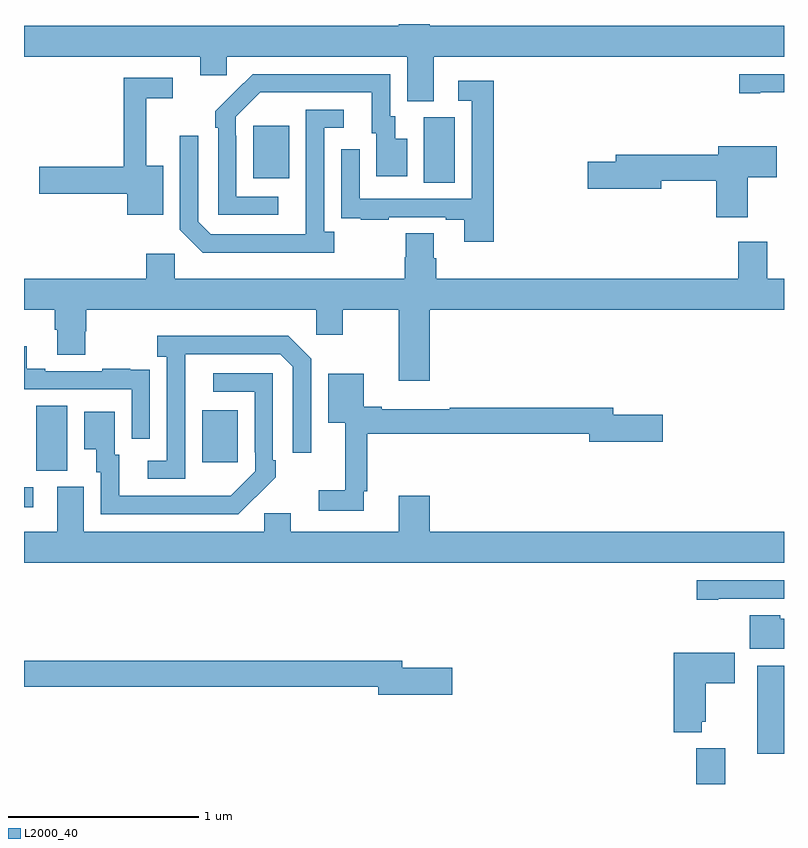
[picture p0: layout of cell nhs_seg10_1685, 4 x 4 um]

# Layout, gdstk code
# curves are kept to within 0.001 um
import gdstk
lib = gdstk.Library(unit=1e-6, precision=1e-09)
def R(c, l, rs):  # rectangles x0, y0, x1, y1
    for r in rs: c.add(gdstk.rectangle(r[:2], r[2:], *l))
def P(c, l, *ps):  # polygons
    for p in ps: c.add(gdstk.Polygon(p, *l))
L2000_40 = (2000, 40)

nhs_seg10_1685 = lib.new_cell('nhs_seg10_1685')
R(nhs_seg10_1685, L2000_40, [(202.538,1284.5,202.69,1284.688), (202.859,1284.66,203,1285.123), (199,1285.956,199.048,1286.061), (199.064,1286.149,199.228,1286.492), (199.937,1286.193,200.125,1286.467), (201.104,1287.664,201.268,1288.008), (200.207,1287.689,200.395,1287.964)])
P(nhs_seg10_1685, L2000_40, [(201.157,1288.328),(203,1288.328),(203,1288.492),(201.136,1288.492),(201.136,1288.5),(200.972,1288.5),(200.972,1288.492),(199,1288.492),(199,1288.328),(199.928,1288.328),(199.928,1288.23),(200.067,1288.23),(200.067,1288.328),(201.017,1288.328),(201.017,1288.093),(201.157,1288.093)],
  [(202.876,1288.14),(203,1288.14),(203,1288.236),(202.764,1288.236),(202.764,1288.135),(202.876,1288.135)],
  [(200.338,1287.591),(200.118,1287.591),(200.118,1287.911),(200.115,1287.911),(200.115,1288.011),(200.244,1288.14),(200.831,1288.14),(200.831,1287.924),(200.855,1287.924),(200.855,1287.699),(201.016,1287.699),(201.016,1287.895),(200.953,1287.895),(200.953,1288.014),(200.928,1288.014),(200.928,1288.236),(200.204,1288.236),(200.007,1288.041),(200.007,1287.953),(200.022,1287.953),(200.022,1287.495),(200.338,1287.495)],
  [(199.732,1287.754),(199.643,1287.754),(199.643,1288.11),(199.783,1288.11),(199.783,1288.218),(199.525,1288.218),(199.525,1287.749),(199.08,1287.749),(199.08,1287.607),(199.544,1287.607),(199.544,1287.497),(199.732,1287.497)],
  [(201.473,1288.201),(201.285,1288.201),(201.285,1288.095),(201.357,1288.095),(201.357,1287.579),(200.766,1287.579),(200.766,1287.841),(200.67,1287.841),(200.67,1287.586),(200.671,1287.586),(200.671,1287.477),(200.773,1287.477),(200.773,1287.471),(200.921,1287.471),(200.921,1287.483),(201.221,1287.483),(201.221,1287.471),(201.317,1287.471),(201.317,1287.354),(201.473,1287.354)],
  [(200.632,1287.406),(200.58,1287.406),(200.58,1287.954),(200.683,1287.954),(200.683,1288.05),(200.484,1288.05),(200.483,1287.393),(199.983,1287.393),(199.917,1287.459),(199.917,1287.913),(199.821,1287.913),(199.821,1287.417),(199.942,1287.296),(200.632,1287.296)],
  [(202.81,1287.694),(202.963,1287.694),(202.963,1287.856),(202.655,1287.856),(202.655,1287.812),(202.115,1287.812),(202.115,1287.776),(201.966,1287.776),(201.966,1287.634),(202.354,1287.634),(202.354,1287.676),(202.643,1287.676),(202.643,1287.483),(202.81,1287.483)],
  [(201.136,1286.996),(203,1286.996),(203,1287.16),(202.912,1287.16),(202.912,1287.355),(202.76,1287.355),(202.76,1287.16),(201.17,1287.16),(201.17,1287.266),(201.157,1287.266),(201.157,1287.398),(201.01,1287.398),(201.01,1287.273),(201.005,1287.273),(201.005,1287.16),(199.794,1287.16),(199.794,1287.292),(199.643,1287.292),(199.643,1287.16),(199,1287.16),(199,1286.996),(199.163,1286.996),(199.163,1286.89),(199.175,1286.89),(199.175,1286.758),(199.323,1286.758),(199.323,1286.883),(199.328,1286.883),(199.328,1286.996),(200.538,1286.996),(200.538,1286.865),(200.677,1286.865),(200.677,1286.996),(200.972,1286.996),(200.972,1286.622),(201.136,1286.622)],
  [(199.848,1286.563),(199.849,1286.763),(200.349,1286.763),(200.415,1286.697),(200.415,1286.244),(200.511,1286.244),(200.511,1286.739),(200.39,1286.86),(199.701,1286.86),(199.701,1286.75),(199.752,1286.75),(199.752,1286.202),(199.65,1286.202),(199.65,1286.106),(199.848,1286.106)],
  [(199.662,1286.57),(199.661,1286.57),(199.661,1286.679),(199.559,1286.679),(199.559,1286.686),(199.411,1286.686),(199.411,1286.673),(199.111,1286.673),(199.111,1286.686),(199.015,1286.686),(199.015,1286.803),(199,1286.803),(199,1286.577),(199.566,1286.577),(199.566,1286.316),(199.662,1286.316)],
  [(200.219,1286.011),(200.22,1286.01),(200.325,1286.115),(200.325,1286.203),(200.31,1286.203),(200.31,1286.661),(199.995,1286.661),(199.995,1286.565),(200.214,1286.565),(200.214,1286.245),(200.217,1286.245),(200.217,1286.145),(200.089,1286.017),(199.501,1286.016),(199.501,1286.232),(199.477,1286.232),(199.477,1286.458),(199.316,1286.458),(199.316,1286.261),(199.379,1286.261),(199.379,1286.142),(199.404,1286.142),(199.404,1285.92),(200.128,1285.92)],
  [(200.789,1286.041),(200.807,1286.041),(200.807,1286.344),(201.974,1286.344),(201.974,1286.302),(202.363,1286.302),(202.363,1286.444),(202.102,1286.444),(202.102,1286.48),(201.24,1286.48),(201.24,1286.473),(200.884,1286.473),(200.884,1286.486),(200.788,1286.486),(200.788,1286.659),(200.6,1286.659),(200.6,1286.402),(200.69,1286.402),(200.69,1286.047),(200.55,1286.047),(200.55,1285.938),(200.789,1285.938)],
  [(203,1285.828),(201.136,1285.828),(201.136,1286.017),(200.972,1286.017),(200.972,1285.828),(200.404,1285.828),(200.404,1285.926),(200.265,1285.926),(200.265,1285.828),(199.315,1285.828),(199.315,1286.064),(199.175,1286.064),(199.175,1285.828),(199,1285.828),(199,1285.664),(203,1285.664)],
  [(202.654,1285.476),(203,1285.476),(203,1285.572),(202.542,1285.572),(202.542,1285.471),(202.654,1285.471)],
  [(203,1285.369),(202.98,1285.369),(202.98,1285.387),(202.82,1285.387),(202.82,1285.211),(203,1285.211)],
  [(202.566,1284.827),(202.588,1284.827),(202.588,1285.03),(202.741,1285.03),(202.741,1285.192),(202.421,1285.192),(202.421,1284.773),(202.566,1284.773)],
  [(201.253,1285.112),(200.992,1285.112),(200.992,1285.148),(199,1285.148),(199,1285.012),(200.864,1285.012),(200.864,1284.97),(201.253,1284.97)])

lib.write_gds('nhs_seg10_1685.gds')
